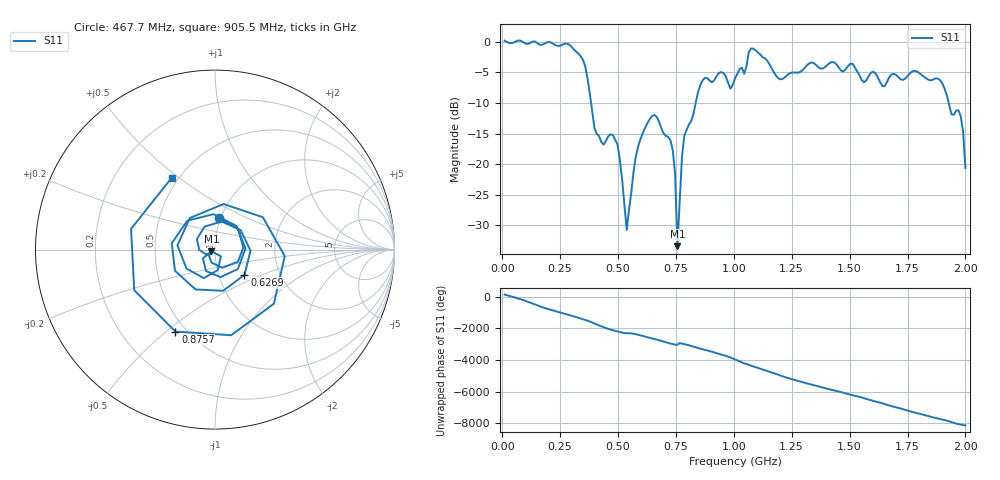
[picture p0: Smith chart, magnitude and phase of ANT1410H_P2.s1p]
!Created with skrf (http://scikit-rf.org).
# Hz S RI R 50.0
!freq ReS11 ImS11
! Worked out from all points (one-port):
!   201 points, 10 MHz to 2 GHz, reference 50 ohm
!   lowest |S11| = -33.4 dB at 756.2 MHz (marker M1), VSWR 1.04, Z = 48.1 - j0.832 ohm
!   |S11| at or under -10 dB: 383.3 MHz to 835 MHz (451.7 MHz wide, 74.1 % of centre); 1.928 GHz to end of sweep
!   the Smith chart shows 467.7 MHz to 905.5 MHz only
!   S11 on the Smith chart (normalised r, x): 467.7 MHz: 0.99, +0.35; 626.9 MHz: 1.33, -0.39; 875.6 MHz: 0.44, -0.54; 905.5 MHz: 0.46, +0.47
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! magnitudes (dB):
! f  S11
! 10 MHz  0.2
! 258.8 MHz  -0.5
! 348.3 MHz  -2.9
! 408 MHz  -15.1
! 467.7 MHz  -15.1
! 507.5 MHz  -19.2
! 537.4 MHz  -30.8
! 577.1 MHz  -18.7
! 626.9 MHz  -13.3
! 656.8 MHz  -12.0
! 726.4 MHz  -16.1
! 746.3 MHz  -21.6
! 756.2 MHz  -33.4
! 776.1 MHz  -18.8
! 786.1 MHz  -15.4
! 875.6 MHz  -5.9
! 905.5 MHz  -6.6
! 1.005 GHz  -6.0
! 1.075 GHz  -1.1
! 1.194 GHz  -6.0
! 1.254 GHz  -5.0
! 1.502 GHz  -3.6
! 1.642 GHz  -7.3
! 1.751 GHz  -5.6
! 1.901 GHz  -6.8
! 1.94 GHz  -11.9
! 1.98 GHz  -12.2
! 2 GHz  -20.6
